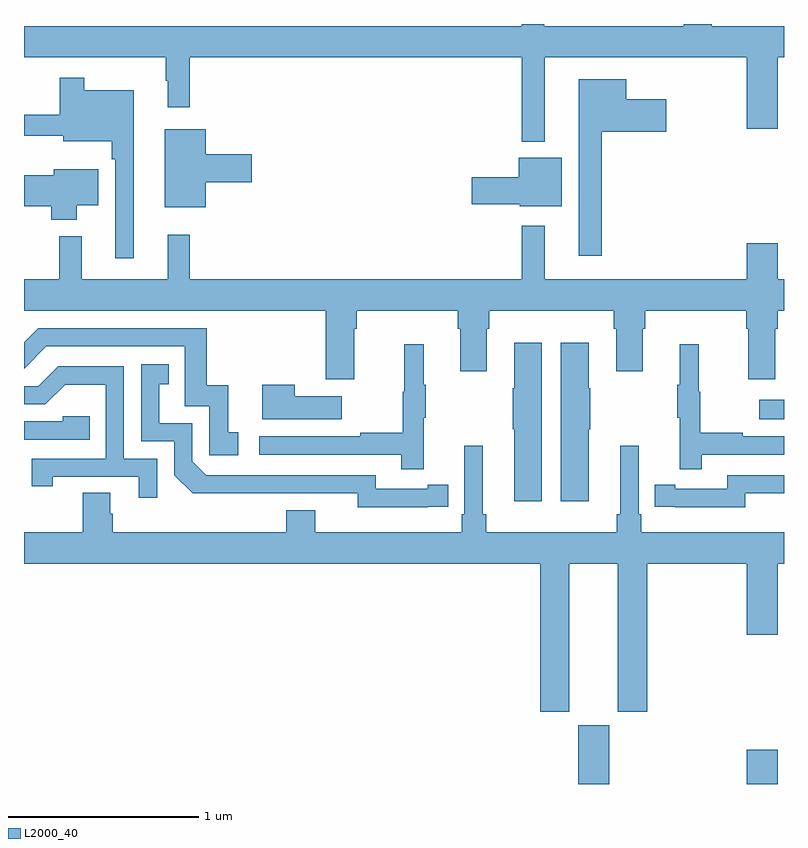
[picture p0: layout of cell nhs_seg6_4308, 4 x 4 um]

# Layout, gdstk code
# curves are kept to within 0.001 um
import gdstk
lib = gdstk.Library(unit=1e-6, precision=1e-09)
def R(c, l, rs):  # rectangles x0, y0, x1, y1
    for r in rs: c.add(gdstk.rectangle(r[:2], r[2:], *l))
def P(c, l, *ps):  # polygons
    for p in ps: c.add(gdstk.Polygon(p, *l))
L2000_40 = (2000, 40)

nhs_seg6_4308 = lib.new_cell('nhs_seg6_4308')
R(nhs_seg6_4308, L2000_40, [(367.916,955.5,368.08,955.809), (368.804,955.5,368.968,955.681), (368.871,957.419,369,957.523)])
P(nhs_seg6_4308, L2000_40, [(367.741,959.324),(368.804,959.324),(368.804,958.95),(368.968,958.95),(368.968,959.324),(369,959.324),(369,959.488),(368.62,959.488),(368.62,959.5),(368.473,959.5),(368.473,959.488),(367.737,959.488),(367.737,959.5),(367.621,959.5),(367.621,959.488),(365,959.488),(365,959.324),(365.745,959.324),(365.745,959.201),(365.756,959.201),(365.756,959.061),(365.873,959.061),(365.873,959.324),(367.62,959.324),(367.62,958.88),(367.741,958.88)],
  [(365.578,959.152),(365.317,959.152),(365.317,959.218),(365.188,959.218),(365.188,959.023),(365,959.023),(365,958.913),(365.207,958.913),(365.207,958.883),(365.461,958.883),(365.461,958.787),(365.481,958.787),(365.481,958.266),(365.578,958.266)],
  [(368.041,958.934),(368.38,958.934),(368.38,959.104),(368.17,959.104),(368.17,959.209),(367.919,959.209),(367.919,958.281),(368.041,958.281)],
  [(365.956,958.667),(366.199,958.667),(366.199,958.814),(365.956,958.814),(365.956,958.945),(365.741,958.945),(365.741,958.535),(365.956,958.535)],
  [(367.831,958.795),(367.604,958.795),(367.604,958.694),(367.356,958.694),(367.356,958.552),(367.608,958.552),(367.608,958.541),(367.831,958.541)],
  [(365.278,958.547),(365.392,958.547),(365.392,958.735),(365.156,958.735),(365.156,958.705),(365,958.705),(365,958.54),(365.144,958.54),(365.144,958.469),(365.278,958.469)],
  [(366.739,957.896),(366.752,957.896),(366.752,957.992),(367.283,957.992),(367.283,957.896),(367.295,957.896),(367.295,957.672),(367.435,957.672),(367.435,957.896),(367.448,957.896),(367.448,957.992),(368.105,957.992),(368.105,957.896),(368.117,957.896),(368.117,957.672),(368.257,957.672),(368.257,957.896),(368.27,957.896),(368.27,957.992),(368.801,957.992),(368.801,957.896),(368.813,957.896),(368.813,957.63),(368.953,957.63),(368.953,957.896),(368.966,957.896),(368.966,957.992),(369,957.992),(369,958.156),(368.968,958.156),(368.968,958.345),(368.804,958.345),(368.804,958.156),(367.741,958.156),(367.741,958.438),(367.62,958.438),(367.62,958.156),(365.873,958.156),(365.873,958.39),(365.756,958.39),(365.756,958.156),(365.303,958.156),(365.303,958.384),(365.185,958.384),(365.185,958.156),(365,958.156),(365,957.992),(366.587,957.992),(366.587,957.63),(366.739,957.63)],
  [(366.127,957.351),(366.074,957.351),(366.074,957.598),(365.963,957.598),(365.963,957.9),(365.076,957.9),(365,957.824),(365,957.686),(365.118,957.804),(365.847,957.804),(365.847,957.489),(365.976,957.489),(365.976,957.231),(366.127,957.231)],
  [(367.972,957.367),(367.98,957.367),(367.98,957.584),(367.972,957.584),(367.972,957.823),(367.826,957.823),(367.826,956.988),(367.972,956.988)],
  [(367.726,957.823),(367.58,957.823),(367.58,957.584),(367.573,957.584),(367.573,957.367),(367.58,957.367),(367.58,956.988),(367.726,956.988)],
  [(368.567,957.234),(369,957.234),(369,957.33),(368.783,957.33),(368.783,957.35),(368.56,957.35),(368.56,957.564),(368.552,957.564),(368.552,957.814),(368.45,957.814),(368.45,957.601),(368.439,957.601),(368.439,957.427),(368.45,957.427),(368.45,957.156),(368.567,957.156)],
  [(367.103,957.427),(367.114,957.427),(367.114,957.601),(367.103,957.601),(367.103,957.814),(367,957.814),(367,957.564),(366.993,957.564),(366.993,957.35),(366.769,957.35),(366.769,957.33),(366.237,957.33),(366.237,957.234),(366.985,957.234),(366.985,957.156),(367.103,957.156)],
  [(367.124,956.958),(367.232,956.958),(367.232,957.074),(367.124,957.074),(367.124,957.054),(366.852,957.054),(366.852,957.126),(365.958,957.126),(365.886,957.198),(365.886,957.399),(365.713,957.399),(365.713,957.603),(365.762,957.603),(365.762,957.709),(365.616,957.709),(365.616,957.303),(365.79,957.303),(365.79,957.126),(365.888,957.029),(366.756,957.03),(366.756,956.957)],
  [(365.7,957.213),(365.526,957.213),(365.526,957.699),(365.18,957.699),(365.075,957.594),(365,957.594),(365,957.498),(365.112,957.498),(365.216,957.602),(365.43,957.602),(365.43,957.213),(365.041,957.213),(365.041,957.066),(365.152,957.066),(365.152,957.117),(365.603,957.117),(365.603,957.006),(365.7,957.006)],
  [(366.673,957.541),(366.425,957.541),(366.425,957.601),(366.254,957.601),(366.254,957.419),(366.673,957.419)],
  [(365.345,957.435),(365.205,957.435),(365.205,957.408),(365,957.408),(365,957.312),(365.345,957.312)],
  [(367.87,956.66),(368.126,956.66),(368.126,955.881),(368.279,955.881),(368.279,956.66),(368.804,956.66),(368.804,956.286),(368.968,956.286),(368.968,956.66),(369,956.66),(369,956.824),(368.249,956.824),(368.249,956.92),(368.235,956.92),(368.235,957.28),(368.138,957.28),(368.138,956.92),(368.119,956.92),(368.119,956.824),(367.433,956.824),(367.433,956.92),(367.414,956.92),(367.414,957.28),(367.317,957.28),(367.317,956.92),(367.304,956.92),(367.304,956.824),(366.532,956.824),(366.532,956.941),(366.38,956.941),(366.38,956.824),(365.468,956.824),(365.468,956.922),(365.455,956.922),(365.455,957.032),(365.308,957.032),(365.308,956.824),(365,956.824),(365,956.66),(367.718,956.66),(367.718,955.881),(367.87,955.881)],
  [(368.796,957.03),(369,957.03),(369,957.126),(368.7,957.126),(368.7,957.054),(368.428,957.054),(368.428,957.074),(368.32,957.074),(368.32,956.958),(368.428,956.958),(368.428,956.957),(368.796,956.957)])

lib.write_gds('nhs_seg6_4308.gds')
